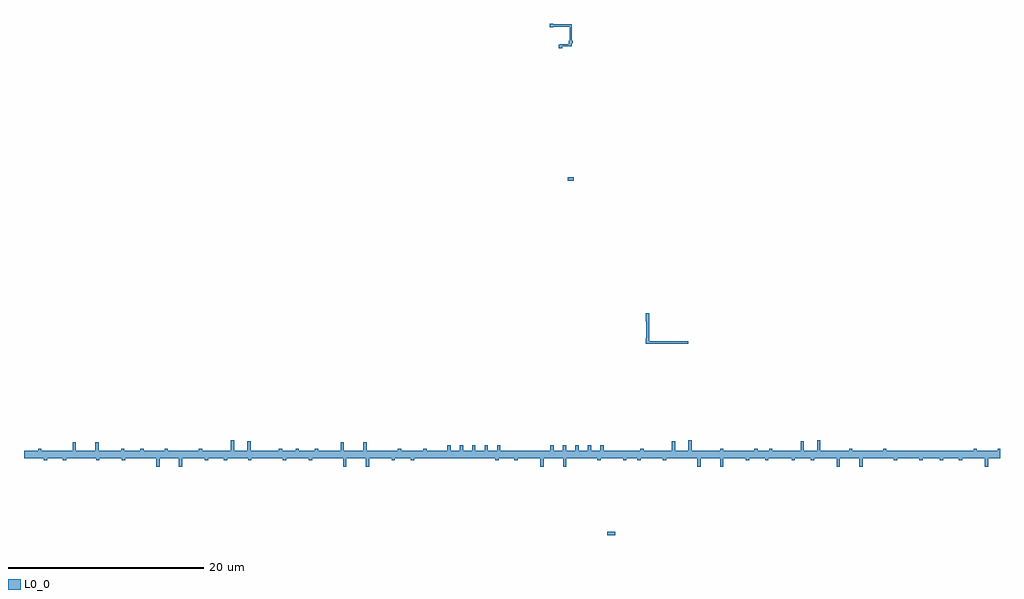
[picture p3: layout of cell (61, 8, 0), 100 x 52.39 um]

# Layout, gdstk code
import gdstk
lib = gdstk.Library(unit=1e-6, precision=1e-09)
def P(c, l, *ps):  # polygons
    for p in ps: c.add(gdstk.Polygon(p, *l))
L0_0 = (0, 0)

c__61__8__0_ = lib.new_cell('(61, 8, 0)')
P(c__61__8__0_, L0_0, [(959.38,951.83),(959.38,951.28),(962.94,951.28),(962.94,950.48),(952.38,950.48),(952.38,951.28),(953.92,951.28),(953.92,951.83),(954.26,951.83),(954.26,951.28),(955.2,951.28),(955.2,951.83),(955.54,951.83),(955.54,951.28),(956.48,951.28),(956.48,951.83),(956.82,951.83),(956.82,951.28),(957.76,951.28),(957.76,951.83),(958.1,951.83),(958.1,951.28),(959.04,951.28),(959.04,951.83),(959.38,951.83)],
  [(1000,950.48),(998.58,950.48),(998.58,951.28),(999.775,951.28),(999.775,951.455),(1000,951.455),(1000,950.48)],
  [(900,951.28),(1000,951.28),(1000,950.48),(900,950.48),(900,951.28)],
  [(981.6,952.35),(981.6,951.28),(984.53,951.28),(984.53,951.455),(984.87,951.455),(984.87,951.28),(988.03,951.28),(988.03,951.455),(988.37,951.455),(988.37,951.28),(989.34,951.28),(989.34,950.48),(976.14,950.48),(976.14,951.28),(976.34,951.28),(976.34,951.455),(976.68,951.455),(976.68,951.28),(979.57,951.28),(979.57,952.26),(979.91,952.26),(979.91,951.28),(981.26,951.28),(981.26,952.35),(981.6,952.35)],
  [(955.23,949.64),(955.23,950.48),(953.245,950.48),(953.245,949.645),(952.905,949.645),(952.905,950.48),(950.59,950.48),(950.59,950.305),(950.25,950.305),(950.25,950.48),(948.635,950.48),(948.635,950.305),(948.295,950.305),(948.295,950.48),(947.1,950.48),(947.1,951.28),(962.28,951.28),(962.28,950.48),(961.73,950.48),(961.73,950.305),(961.39,950.305),(961.39,950.48),(959.09,950.48),(959.09,950.305),(958.75,950.305),(958.75,950.48),(955.57,950.48),(955.57,949.64),(955.23,949.64)],
  [(921.52,951.28),(922.87,951.28),(922.87,952.26),(923.21,952.26),(923.21,951.28),(926.1,951.28),(926.1,951.455),(926.44,951.455),(926.44,951.28),(926.64,951.28),(926.64,950.48),(913.44,950.48),(913.44,951.28),(914.41,951.28),(914.41,951.455),(914.75,951.455),(914.75,951.28),(917.91,951.28),(917.91,951.455),(918.25,951.455),(918.25,951.28),(921.18,951.28),(921.18,952.35),(921.52,952.35),(921.52,951.28)],
  [(906.84,951.28),(906.84,950.48),(905.52,950.48),(905.52,951.28),(906.84,951.28)],
  [(900,951.28),(905.52,951.28),(905.52,950.48),(904.325,950.48),(904.325,950.305),(903.985,950.305),(903.985,950.48),(902.37,950.48),(902.37,950.305),(902.03,950.305),(902.03,950.48),(900,950.48),(900,951.28)],
  [(900,951.28),(901.45,951.28),(901.45,951.455),(901.79,951.455),(901.79,951.28),(904.97,951.28),(904.97,952.12),(905.31,952.12),(905.31,951.28),(907.295,951.28),(907.295,952.115),(907.635,952.115),(907.635,951.28),(909.95,951.28),(909.95,951.455),(910.29,951.455),(910.29,951.28),(911.905,951.28),(911.905,951.455),(912.245,951.455),(912.245,951.28),(913.44,951.28),(913.44,950.48),(900,950.48),(900,951.28)],
  [(946.44,951.28),(946.44,950.48),(941.16,950.48),(941.16,951.28),(946.44,951.28)],
  [(1000,950.48),(998.785,950.48),(998.785,949.645),(998.445,949.645),(998.445,950.48),(996.13,950.48),(996.13,950.305),(995.79,950.305),(995.79,950.48),(994.175,950.48),(994.175,950.305),(993.835,950.305),(993.835,950.48),(992.64,950.48),(992.64,951.28),(1000,951.28),(1000,950.48)],
  [(948.82,951.83),(948.82,951.28),(952.38,951.28),(952.38,950.48),(941.82,950.48),(941.82,951.28),(943.36,951.28),(943.36,951.83),(943.7,951.83),(943.7,951.28),(944.64,951.28),(944.64,951.83),(944.98,951.83),(944.98,951.28),(945.92,951.28),(945.92,951.83),(946.26,951.83),(946.26,951.28),(947.2,951.28),(947.2,951.83),(947.54,951.83),(947.54,951.28),(948.48,951.28),(948.48,951.83),(948.82,951.83)],
  [(985.59,949.64),(985.59,950.48),(983.605,950.48),(983.605,949.645),(983.265,949.645),(983.265,950.48),(980.95,950.48),(980.95,950.305),(980.61,950.305),(980.61,950.48),(978.995,950.48),(978.995,950.305),(978.655,950.305),(978.655,950.48),(977.46,950.48),(977.46,951.28),(992.64,951.28),(992.64,950.48),(992.09,950.48),(992.09,950.305),(991.75,950.305),(991.75,950.48),(989.45,950.48),(989.45,950.305),(989.11,950.305),(989.11,950.48),(985.93,950.48),(985.93,949.64),(985.59,949.64)],
  [(997.64,951.28),(998.58,951.28),(998.58,950.48),(994.62,950.48),(994.62,951.28),(997.3,951.28),(997.3,951.455),(997.64,951.455),(997.64,951.28)],
  [(968.99,950.48),(965.81,950.48),(965.81,950.305),(965.47,950.305),(965.47,950.48),(963.17,950.48),(963.17,950.305),(962.83,950.305),(962.83,950.48),(962.28,950.48),(962.28,951.28),(977.46,951.28),(977.46,950.48),(976.265,950.48),(976.265,950.305),(975.925,950.305),(975.925,950.48),(974.31,950.48),(974.31,950.305),(973.97,950.305),(973.97,950.48),(971.655,950.48),(971.655,949.645),(971.315,949.645),(971.315,950.48),(969.33,950.48),(969.33,949.64),(968.99,949.64),(968.99,950.48)],
  [(935.11,951.28),(938.29,951.28),(938.29,951.455),(938.63,951.455),(938.63,951.28),(940.93,951.28),(940.93,951.455),(941.27,951.455),(941.27,951.28),(941.82,951.28),(941.82,950.48),(926.64,950.48),(926.64,951.28),(927.835,951.28),(927.835,951.455),(928.175,951.455),(928.175,951.28),(929.79,951.28),(929.79,951.455),(930.13,951.455),(930.13,951.28),(932.445,951.28),(932.445,952.115),(932.785,952.115),(932.785,951.28),(934.77,951.28),(934.77,952.12),(935.11,952.12),(935.11,951.28)],
  [(989.34,951.28),(994.62,951.28),(994.62,950.48),(989.34,950.48),(989.34,951.28)],
  [(968.4,952.35),(968.4,951.28),(971.33,951.28),(971.33,951.455),(971.67,951.455),(971.67,951.28),(974.83,951.28),(974.83,951.455),(975.17,951.455),(975.17,951.28),(976.14,951.28),(976.14,950.48),(962.94,950.48),(962.94,951.28),(963.14,951.28),(963.14,951.455),(963.48,951.455),(963.48,951.28),(966.37,951.28),(966.37,952.26),(966.71,952.26),(966.71,951.28),(968.06,951.28),(968.06,952.35),(968.4,952.35)],
  [(922.96,950.48),(922.02,950.48),(922.02,951.28),(925.98,951.28),(925.98,950.48),(923.3,950.48),(923.3,950.305),(922.96,950.305),(922.96,950.48)],
  [(913.55,950.48),(910.37,950.48),(910.37,950.305),(910.03,950.305),(910.03,950.48),(907.73,950.48),(907.73,950.305),(907.39,950.305),(907.39,950.48),(906.84,950.48),(906.84,951.28),(922.02,951.28),(922.02,950.48),(920.825,950.48),(920.825,950.305),(920.485,950.305),(920.485,950.48),(918.87,950.48),(918.87,950.305),(918.53,950.305),(918.53,950.48),(916.215,950.48),(916.215,949.645),(915.875,949.645),(915.875,950.48),(913.89,950.48),(913.89,949.64),(913.55,949.64),(913.55,950.48)],
  [(947.1,951.28),(947.1,950.48),(946.44,950.48),(946.44,951.28),(947.1,951.28)],
  [(932.69,950.48),(929.51,950.48),(929.51,950.305),(929.17,950.305),(929.17,950.48),(926.87,950.48),(926.87,950.305),(926.53,950.305),(926.53,950.48),(925.98,950.48),(925.98,951.28),(941.16,951.28),(941.16,950.48),(939.965,950.48),(939.965,950.305),(939.625,950.305),(939.625,950.48),(938.01,950.48),(938.01,950.305),(937.67,950.305),(937.67,950.48),(935.355,950.48),(935.355,949.645),(935.015,949.645),(935.015,950.48),(933.03,950.48),(933.03,949.64),(932.69,949.64),(932.69,950.48)],
  [(963.93,962.475),(968.005,962.475),(968.005,962.245),(963.93,962.245),(963.93,962.475)],
  [(964.05,965.365),(964.05,962.24),(963.71,962.24),(963.71,962.81),(963.765,962.81),(963.765,964.555),(963.71,964.555),(963.71,965.365),(964.05,965.365)],
  [(967.7,962.5),(968.08,962.5),(968.08,962.22),(967.7,962.22),(967.7,962.5)],
  [(1000,950.48),(998.58,950.48),(998.58,951.28),(999.775,951.28),(999.775,951.455),(1000,951.455),(1000,950.48)],
  [(1000,950.48),(998.785,950.48),(998.785,949.645),(998.445,949.645),(998.445,950.48),(996.13,950.48),(996.13,950.305),(995.79,950.305),(995.79,950.48),(994.175,950.48),(994.175,950.305),(993.835,950.305),(993.835,950.48),(992.64,950.48),(992.64,951.28),(1000,951.28),(1000,950.48)],
  [(968.4,952.35),(968.4,951.28),(971.33,951.28),(971.33,951.455),(971.67,951.455),(971.67,951.28),(974.83,951.28),(974.83,951.455),(975.17,951.455),(975.17,951.28),(976.14,951.28),(976.14,950.48),(962.94,950.48),(962.94,951.28),(963.14,951.28),(963.14,951.455),(963.48,951.455),(963.48,951.28),(966.37,951.28),(966.37,952.26),(966.71,952.26),(966.71,951.28),(968.06,951.28),(968.06,952.35),(968.4,952.35)],
  [(981.6,952.35),(981.6,951.28),(984.53,951.28),(984.53,951.455),(984.87,951.455),(984.87,951.28),(988.03,951.28),(988.03,951.455),(988.37,951.455),(988.37,951.28),(989.34,951.28),(989.34,950.48),(976.14,950.48),(976.14,951.28),(976.34,951.28),(976.34,951.455),(976.68,951.455),(976.68,951.28),(979.57,951.28),(979.57,952.26),(979.91,952.26),(979.91,951.28),(981.26,951.28),(981.26,952.35),(981.6,952.35)],
  [(985.59,949.64),(985.59,950.48),(983.605,950.48),(983.605,949.645),(983.265,949.645),(983.265,950.48),(980.95,950.48),(980.95,950.305),(980.61,950.305),(980.61,950.48),(978.995,950.48),(978.995,950.305),(978.655,950.305),(978.655,950.48),(977.46,950.48),(977.46,951.28),(992.64,951.28),(992.64,950.48),(992.09,950.48),(992.09,950.305),(991.75,950.305),(991.75,950.48),(989.45,950.48),(989.45,950.305),(989.11,950.305),(989.11,950.48),(985.93,950.48),(985.93,949.64),(985.59,949.64)],
  [(997.64,951.28),(998.58,951.28),(998.58,950.48),(994.62,950.48),(994.62,951.28),(997.3,951.28),(997.3,951.455),(997.64,951.455),(997.64,951.28)],
  [(968.99,950.48),(965.81,950.48),(965.81,950.305),(965.47,950.305),(965.47,950.48),(963.17,950.48),(963.17,950.305),(962.83,950.305),(962.83,950.48),(962.28,950.48),(962.28,951.28),(977.46,951.28),(977.46,950.48),(976.265,950.48),(976.265,950.305),(975.925,950.305),(975.925,950.48),(974.31,950.48),(974.31,950.305),(973.97,950.305),(973.97,950.48),(971.655,950.48),(971.655,949.645),(971.315,949.645),(971.315,950.48),(969.33,950.48),(969.33,949.64),(968.99,949.64),(968.99,950.48)],
  [(989.34,951.28),(994.62,951.28),(994.62,950.48),(989.34,950.48),(989.34,951.28)],
  [(946.44,951.28),(946.44,950.48),(941.16,950.48),(941.16,951.28),(946.44,951.28)],
  [(922.96,950.48),(922.02,950.48),(922.02,951.28),(925.98,951.28),(925.98,950.48),(923.3,950.48),(923.3,950.305),(922.96,950.305),(922.96,950.48)],
  [(913.55,950.48),(910.37,950.48),(910.37,950.305),(910.03,950.305),(910.03,950.48),(907.73,950.48),(907.73,950.305),(907.39,950.305),(907.39,950.48),(906.84,950.48),(906.84,951.28),(922.02,951.28),(922.02,950.48),(920.825,950.48),(920.825,950.305),(920.485,950.305),(920.485,950.48),(918.87,950.48),(918.87,950.305),(918.53,950.305),(918.53,950.48),(916.215,950.48),(916.215,949.645),(915.875,949.645),(915.875,950.48),(913.89,950.48),(913.89,949.64),(913.55,949.64),(913.55,950.48)],
  [(948.82,951.83),(948.82,951.28),(952.38,951.28),(952.38,950.48),(941.82,950.48),(941.82,951.28),(943.36,951.28),(943.36,951.83),(943.7,951.83),(943.7,951.28),(944.64,951.28),(944.64,951.83),(944.98,951.83),(944.98,951.28),(945.92,951.28),(945.92,951.83),(946.26,951.83),(946.26,951.28),(947.2,951.28),(947.2,951.83),(947.54,951.83),(947.54,951.28),(948.48,951.28),(948.48,951.83),(948.82,951.83)],
  [(921.52,951.28),(922.87,951.28),(922.87,952.26),(923.21,952.26),(923.21,951.28),(926.1,951.28),(926.1,951.455),(926.44,951.455),(926.44,951.28),(926.64,951.28),(926.64,950.48),(913.44,950.48),(913.44,951.28),(914.41,951.28),(914.41,951.455),(914.75,951.455),(914.75,951.28),(917.91,951.28),(917.91,951.455),(918.25,951.455),(918.25,951.28),(921.18,951.28),(921.18,952.35),(921.52,952.35),(921.52,951.28)],
  [(906.84,951.28),(906.84,950.48),(905.52,950.48),(905.52,951.28),(906.84,951.28)],
  [(935.11,951.28),(938.29,951.28),(938.29,951.455),(938.63,951.455),(938.63,951.28),(940.93,951.28),(940.93,951.455),(941.27,951.455),(941.27,951.28),(941.82,951.28),(941.82,950.48),(926.64,950.48),(926.64,951.28),(927.835,951.28),(927.835,951.455),(928.175,951.455),(928.175,951.28),(929.79,951.28),(929.79,951.455),(930.13,951.455),(930.13,951.28),(932.445,951.28),(932.445,952.115),(932.785,952.115),(932.785,951.28),(934.77,951.28),(934.77,952.12),(935.11,952.12),(935.11,951.28)],
  [(932.69,950.48),(929.51,950.48),(929.51,950.305),(929.17,950.305),(929.17,950.48),(926.87,950.48),(926.87,950.305),(926.53,950.305),(926.53,950.48),(925.98,950.48),(925.98,951.28),(941.16,951.28),(941.16,950.48),(939.965,950.48),(939.965,950.305),(939.625,950.305),(939.625,950.48),(938.01,950.48),(938.01,950.305),(937.67,950.305),(937.67,950.48),(935.355,950.48),(935.355,949.645),(935.015,949.645),(935.015,950.48),(933.03,950.48),(933.03,949.64),(932.69,949.64),(932.69,950.48)],
  [(900,951.28),(905.52,951.28),(905.52,950.48),(904.325,950.48),(904.325,950.305),(903.985,950.305),(903.985,950.48),(902.37,950.48),(902.37,950.305),(902.03,950.305),(902.03,950.48),(900,950.48),(900,951.28)],
  [(900,951.28),(901.45,951.28),(901.45,951.455),(901.79,951.455),(901.79,951.28),(904.97,951.28),(904.97,952.12),(905.31,952.12),(905.31,951.28),(907.295,951.28),(907.295,952.115),(907.635,952.115),(907.635,951.28),(909.95,951.28),(909.95,951.455),(910.29,951.455),(910.29,951.28),(911.905,951.28),(911.905,951.455),(912.245,951.455),(912.245,951.28),(913.44,951.28),(913.44,950.48),(900,950.48),(900,951.28)],
  [(954.22,995.01),(954.22,994.955),(956.125,994.955),(956.125,992.705),(955.14,992.705),(955.14,992.515),(954.8,992.515),(954.8,992.855),(954.91,992.855),(954.91,992.935),(955.82,992.935),(955.82,993.045),(955.895,993.045),(955.895,994.725),(954.22,994.725),(954.22,994.67),(953.88,994.67),(953.88,995.01),(954.22,995.01)],
  [(955.82,993.3),(956.2,993.3),(956.2,993.02),(955.82,993.02),(955.82,993.3)],
  [(960.58,942.985),(960.58,942.62),(959.78,942.62),(959.78,942.945),(960.24,942.945),(960.24,942.985),(960.58,942.985)],
  [(959.78,942.9),(960.16,942.9),(960.16,942.62),(959.78,942.62),(959.78,942.9)],
  [(946.44,951.28),(946.44,950.48),(941.16,950.48),(941.16,951.28),(946.44,951.28)],
  [(913.55,950.48),(910.37,950.48),(910.37,950.305),(910.03,950.305),(910.03,950.48),(907.73,950.48),(907.73,950.305),(907.39,950.305),(907.39,950.48),(906.84,950.48),(906.84,951.28),(922.02,951.28),(922.02,950.48),(920.825,950.48),(920.825,950.305),(920.485,950.305),(920.485,950.48),(918.87,950.48),(918.87,950.305),(918.53,950.305),(918.53,950.48),(916.215,950.48),(916.215,949.645),(915.875,949.645),(915.875,950.48),(913.89,950.48),(913.89,949.64),(913.55,949.64),(913.55,950.48)],
  [(948.82,951.83),(948.82,951.28),(952.38,951.28),(952.38,950.48),(941.82,950.48),(941.82,951.28),(943.36,951.28),(943.36,951.83),(943.7,951.83),(943.7,951.28),(944.64,951.28),(944.64,951.83),(944.98,951.83),(944.98,951.28),(945.92,951.28),(945.92,951.83),(946.26,951.83),(946.26,951.28),(947.2,951.28),(947.2,951.83),(947.54,951.83),(947.54,951.28),(948.48,951.28),(948.48,951.83),(948.82,951.83)],
  [(921.52,951.28),(922.87,951.28),(922.87,952.26),(923.21,952.26),(923.21,951.28),(926.1,951.28),(926.1,951.455),(926.44,951.455),(926.44,951.28),(926.64,951.28),(926.64,950.48),(913.44,950.48),(913.44,951.28),(914.41,951.28),(914.41,951.455),(914.75,951.455),(914.75,951.28),(917.91,951.28),(917.91,951.455),(918.25,951.455),(918.25,951.28),(921.18,951.28),(921.18,952.35),(921.52,952.35),(921.52,951.28)],
  [(906.84,951.28),(906.84,950.48),(905.52,950.48),(905.52,951.28),(906.84,951.28)],
  [(935.11,951.28),(938.29,951.28),(938.29,951.455),(938.63,951.455),(938.63,951.28),(940.93,951.28),(940.93,951.455),(941.27,951.455),(941.27,951.28),(941.82,951.28),(941.82,950.48),(926.64,950.48),(926.64,951.28),(927.835,951.28),(927.835,951.455),(928.175,951.455),(928.175,951.28),(929.79,951.28),(929.79,951.455),(930.13,951.455),(930.13,951.28),(932.445,951.28),(932.445,952.115),(932.785,952.115),(932.785,951.28),(934.77,951.28),(934.77,952.12),(935.11,952.12),(935.11,951.28)],
  [(932.69,950.48),(929.51,950.48),(929.51,950.305),(929.17,950.305),(929.17,950.48),(926.87,950.48),(926.87,950.305),(926.53,950.305),(926.53,950.48),(925.98,950.48),(925.98,951.28),(941.16,951.28),(941.16,950.48),(939.965,950.48),(939.965,950.305),(939.625,950.305),(939.625,950.48),(938.01,950.48),(938.01,950.305),(937.67,950.305),(937.67,950.48),(935.355,950.48),(935.355,949.645),(935.015,949.645),(935.015,950.48),(933.03,950.48),(933.03,949.64),(932.69,949.64),(932.69,950.48)],
  [(900,951.28),(905.52,951.28),(905.52,950.48),(904.325,950.48),(904.325,950.305),(903.985,950.305),(903.985,950.48),(902.37,950.48),(902.37,950.305),(902.03,950.305),(902.03,950.48),(900,950.48),(900,951.28)],
  [(900,951.28),(901.45,951.28),(901.45,951.455),(901.79,951.455),(901.79,951.28),(904.97,951.28),(904.97,952.12),(905.31,952.12),(905.31,951.28),(907.295,951.28),(907.295,952.115),(907.635,952.115),(907.635,951.28),(909.95,951.28),(909.95,951.455),(910.29,951.455),(910.29,951.28),(911.905,951.28),(911.905,951.455),(912.245,951.455),(912.245,951.28),(913.44,951.28),(913.44,950.48),(900,950.48),(900,951.28)],
  [(955.82,979.3),(956.2,979.3),(956.2,979.02),(955.82,979.02),(955.82,979.3)],
  [(956.34,978.935),(955.73,978.935),(955.73,979.305),(956.34,979.305),(956.34,978.935)],
  [(959.38,951.83),(959.38,951.28),(962.94,951.28),(962.94,950.48),(952.38,950.48),(952.38,951.28),(953.92,951.28),(953.92,951.83),(954.26,951.83),(954.26,951.28),(955.2,951.28),(955.2,951.83),(955.54,951.83),(955.54,951.28),(956.48,951.28),(956.48,951.83),(956.82,951.83),(956.82,951.28),(957.76,951.28),(957.76,951.83),(958.1,951.83),(958.1,951.28),(959.04,951.28),(959.04,951.83),(959.38,951.83)],
  [(1000,950.48),(998.785,950.48),(998.785,949.645),(998.445,949.645),(998.445,950.48),(996.13,950.48),(996.13,950.305),(995.79,950.305),(995.79,950.48),(994.175,950.48),(994.175,950.305),(993.835,950.305),(993.835,950.48),(992.64,950.48),(992.64,951.28),(1000,951.28),(1000,950.48)],
  [(968.4,952.35),(968.4,951.28),(971.33,951.28),(971.33,951.455),(971.67,951.455),(971.67,951.28),(974.83,951.28),(974.83,951.455),(975.17,951.455),(975.17,951.28),(976.14,951.28),(976.14,950.48),(962.94,950.48),(962.94,951.28),(963.14,951.28),(963.14,951.455),(963.48,951.455),(963.48,951.28),(966.37,951.28),(966.37,952.26),(966.71,952.26),(966.71,951.28),(968.06,951.28),(968.06,952.35),(968.4,952.35)],
  [(981.6,952.35),(981.6,951.28),(984.53,951.28),(984.53,951.455),(984.87,951.455),(984.87,951.28),(988.03,951.28),(988.03,951.455),(988.37,951.455),(988.37,951.28),(989.34,951.28),(989.34,950.48),(976.14,950.48),(976.14,951.28),(976.34,951.28),(976.34,951.455),(976.68,951.455),(976.68,951.28),(979.57,951.28),(979.57,952.26),(979.91,952.26),(979.91,951.28),(981.26,951.28),(981.26,952.35),(981.6,952.35)],
  [(955.23,949.64),(955.23,950.48),(953.245,950.48),(953.245,949.645),(952.905,949.645),(952.905,950.48),(950.59,950.48),(950.59,950.305),(950.25,950.305),(950.25,950.48),(948.635,950.48),(948.635,950.305),(948.295,950.305),(948.295,950.48),(947.1,950.48),(947.1,951.28),(962.28,951.28),(962.28,950.48),(961.73,950.48),(961.73,950.305),(961.39,950.305),(961.39,950.48),(959.09,950.48),(959.09,950.305),(958.75,950.305),(958.75,950.48),(955.57,950.48),(955.57,949.64),(955.23,949.64)],
  [(985.59,949.64),(985.59,950.48),(983.605,950.48),(983.605,949.645),(983.265,949.645),(983.265,950.48),(980.95,950.48),(980.95,950.305),(980.61,950.305),(980.61,950.48),(978.995,950.48),(978.995,950.305),(978.655,950.305),(978.655,950.48),(977.46,950.48),(977.46,951.28),(992.64,951.28),(992.64,950.48),(992.09,950.48),(992.09,950.305),(991.75,950.305),(991.75,950.48),(989.45,950.48),(989.45,950.305),(989.11,950.305),(989.11,950.48),(985.93,950.48),(985.93,949.64),(985.59,949.64)],
  [(968.99,950.48),(965.81,950.48),(965.81,950.305),(965.47,950.305),(965.47,950.48),(963.17,950.48),(963.17,950.305),(962.83,950.305),(962.83,950.48),(962.28,950.48),(962.28,951.28),(977.46,951.28),(977.46,950.48),(976.265,950.48),(976.265,950.305),(975.925,950.305),(975.925,950.48),(974.31,950.48),(974.31,950.305),(973.97,950.305),(973.97,950.48),(971.655,950.48),(971.655,949.645),(971.315,949.645),(971.315,950.48),(969.33,950.48),(969.33,949.64),(968.99,949.64),(968.99,950.48)],
  [(947.1,951.28),(947.1,950.48),(946.44,950.48),(946.44,951.28),(947.1,951.28)],
  [(989.34,951.28),(994.62,951.28),(994.62,950.48),(989.34,950.48),(989.34,951.28)],
  [(948.82,951.83),(948.82,951.28),(952.38,951.28),(952.38,950.48),(941.82,950.48),(941.82,951.28),(943.36,951.28),(943.36,951.83),(943.7,951.83),(943.7,951.28),(944.64,951.28),(944.64,951.83),(944.98,951.83),(944.98,951.28),(945.92,951.28),(945.92,951.83),(946.26,951.83),(946.26,951.28),(947.2,951.28),(947.2,951.83),(947.54,951.83),(947.54,951.28),(948.48,951.28),(948.48,951.83),(948.82,951.83)],
  [(959.38,951.83),(959.38,951.28),(962.94,951.28),(962.94,950.48),(952.38,950.48),(952.38,951.28),(953.92,951.28),(953.92,951.83),(954.26,951.83),(954.26,951.28),(955.2,951.28),(955.2,951.83),(955.54,951.83),(955.54,951.28),(956.48,951.28),(956.48,951.83),(956.82,951.83),(956.82,951.28),(957.76,951.28),(957.76,951.83),(958.1,951.83),(958.1,951.28),(959.04,951.28),(959.04,951.83),(959.38,951.83)],
  [(1000,950.48),(998.58,950.48),(998.58,951.28),(999.775,951.28),(999.775,951.455),(1000,951.455),(1000,950.48)],
  [(1000,950.48),(998.785,950.48),(998.785,949.645),(998.445,949.645),(998.445,950.48),(996.13,950.48),(996.13,950.305),(995.79,950.305),(995.79,950.48),(994.175,950.48),(994.175,950.305),(993.835,950.305),(993.835,950.48),(992.64,950.48),(992.64,951.28),(1000,951.28),(1000,950.48)],
  [(981.6,952.35),(981.6,951.28),(984.53,951.28),(984.53,951.455),(984.87,951.455),(984.87,951.28),(988.03,951.28),(988.03,951.455),(988.37,951.455),(988.37,951.28),(989.34,951.28),(989.34,950.48),(976.14,950.48),(976.14,951.28),(976.34,951.28),(976.34,951.455),(976.68,951.455),(976.68,951.28),(979.57,951.28),(979.57,952.26),(979.91,952.26),(979.91,951.28),(981.26,951.28),(981.26,952.35),(981.6,952.35)],
  [(955.23,949.64),(955.23,950.48),(953.245,950.48),(953.245,949.645),(952.905,949.645),(952.905,950.48),(950.59,950.48),(950.59,950.305),(950.25,950.305),(950.25,950.48),(948.635,950.48),(948.635,950.305),(948.295,950.305),(948.295,950.48),(947.1,950.48),(947.1,951.28),(962.28,951.28),(962.28,950.48),(961.73,950.48),(961.73,950.305),(961.39,950.305),(961.39,950.48),(959.09,950.48),(959.09,950.305),(958.75,950.305),(958.75,950.48),(955.57,950.48),(955.57,949.64),(955.23,949.64)],
  [(985.59,949.64),(985.59,950.48),(983.605,950.48),(983.605,949.645),(983.265,949.645),(983.265,950.48),(980.95,950.48),(980.95,950.305),(980.61,950.305),(980.61,950.48),(978.995,950.48),(978.995,950.305),(978.655,950.305),(978.655,950.48),(977.46,950.48),(977.46,951.28),(992.64,951.28),(992.64,950.48),(992.09,950.48),(992.09,950.305),(991.75,950.305),(991.75,950.48),(989.45,950.48),(989.45,950.305),(989.11,950.305),(989.11,950.48),(985.93,950.48),(985.93,949.64),(985.59,949.64)],
  [(968.99,950.48),(965.81,950.48),(965.81,950.305),(965.47,950.305),(965.47,950.48),(963.17,950.48),(963.17,950.305),(962.83,950.305),(962.83,950.48),(962.28,950.48),(962.28,951.28),(977.46,951.28),(977.46,950.48),(976.265,950.48),(976.265,950.305),(975.925,950.305),(975.925,950.48),(974.31,950.48),(974.31,950.305),(973.97,950.305),(973.97,950.48),(971.655,950.48),(971.655,949.645),(971.315,949.645),(971.315,950.48),(969.33,950.48),(969.33,949.64),(968.99,949.64),(968.99,950.48)],
  [(947.1,951.28),(947.1,950.48),(946.44,950.48),(946.44,951.28),(947.1,951.28)],
  [(989.34,951.28),(994.62,951.28),(994.62,950.48),(989.34,950.48),(989.34,951.28)],
  [(948.82,951.83),(948.82,951.28),(952.38,951.28),(952.38,950.48),(941.82,950.48),(941.82,951.28),(943.36,951.28),(943.36,951.83),(943.7,951.83),(943.7,951.28),(944.64,951.28),(944.64,951.83),(944.98,951.83),(944.98,951.28),(945.92,951.28),(945.92,951.83),(946.26,951.83),(946.26,951.28),(947.2,951.28),(947.2,951.83),(947.54,951.83),(947.54,951.28),(948.48,951.28),(948.48,951.83),(948.82,951.83)],
  [(959.38,951.83),(959.38,951.28),(962.94,951.28),(962.94,950.48),(952.38,950.48),(952.38,951.28),(953.92,951.28),(953.92,951.83),(954.26,951.83),(954.26,951.28),(955.2,951.28),(955.2,951.83),(955.54,951.83),(955.54,951.28),(956.48,951.28),(956.48,951.83),(956.82,951.83),(956.82,951.28),(957.76,951.28),(957.76,951.83),(958.1,951.83),(958.1,951.28),(959.04,951.28),(959.04,951.83),(959.38,951.83)],
  [(946.44,951.28),(946.44,950.48),(941.16,950.48),(941.16,951.28),(946.44,951.28)],
  [(955.23,949.64),(955.23,950.48),(953.245,950.48),(953.245,949.645),(952.905,949.645),(952.905,950.48),(950.59,950.48),(950.59,950.305),(950.25,950.305),(950.25,950.48),(948.635,950.48),(948.635,950.305),(948.295,950.305),(948.295,950.48),(947.1,950.48),(947.1,951.28),(962.28,951.28),(962.28,950.48),(961.73,950.48),(961.73,950.305),(961.39,950.305),(961.39,950.48),(959.09,950.48),(959.09,950.305),(958.75,950.305),(958.75,950.48),(955.57,950.48),(955.57,949.64),(955.23,949.64)],
  [(948.82,951.83),(948.82,951.28),(952.38,951.28),(952.38,950.48),(941.82,950.48),(941.82,951.28),(943.36,951.28),(943.36,951.83),(943.7,951.83),(943.7,951.28),(944.64,951.28),(944.64,951.83),(944.98,951.83),(944.98,951.28),(945.92,951.28),(945.92,951.83),(946.26,951.83),(946.26,951.28),(947.2,951.28),(947.2,951.83),(947.54,951.83),(947.54,951.28),(948.48,951.28),(948.48,951.83),(948.82,951.83)],
  [(968.99,950.48),(965.81,950.48),(965.81,950.305),(965.47,950.305),(965.47,950.48),(963.17,950.48),(963.17,950.305),(962.83,950.305),(962.83,950.48),(962.28,950.48),(962.28,951.28),(977.46,951.28),(977.46,950.48),(976.265,950.48),(976.265,950.305),(975.925,950.305),(975.925,950.48),(974.31,950.48),(974.31,950.305),(973.97,950.305),(973.97,950.48),(971.655,950.48),(971.655,949.645),(971.315,949.645),(971.315,950.48),(969.33,950.48),(969.33,949.64),(968.99,949.64),(968.99,950.48)],
  [(935.11,951.28),(938.29,951.28),(938.29,951.455),(938.63,951.455),(938.63,951.28),(940.93,951.28),(940.93,951.455),(941.27,951.455),(941.27,951.28),(941.82,951.28),(941.82,950.48),(926.64,950.48),(926.64,951.28),(927.835,951.28),(927.835,951.455),(928.175,951.455),(928.175,951.28),(929.79,951.28),(929.79,951.455),(930.13,951.455),(930.13,951.28),(932.445,951.28),(932.445,952.115),(932.785,952.115),(932.785,951.28),(934.77,951.28),(934.77,952.12),(935.11,952.12),(935.11,951.28)],
  [(932.69,950.48),(929.51,950.48),(929.51,950.305),(929.17,950.305),(929.17,950.48),(926.87,950.48),(926.87,950.305),(926.53,950.305),(926.53,950.48),(925.98,950.48),(925.98,951.28),(941.16,951.28),(941.16,950.48),(939.965,950.48),(939.965,950.305),(939.625,950.305),(939.625,950.48),(938.01,950.48),(938.01,950.305),(937.67,950.305),(937.67,950.48),(935.355,950.48),(935.355,949.645),(935.015,949.645),(935.015,950.48),(933.03,950.48),(933.03,949.64),(932.69,949.64),(932.69,950.48)],
  [(947.1,951.28),(947.1,950.48),(946.44,950.48),(946.44,951.28),(947.1,951.28)],
  [(985.59,949.64),(985.59,950.48),(983.605,950.48),(983.605,949.645),(983.265,949.645),(983.265,950.48),(980.95,950.48),(980.95,950.305),(980.61,950.305),(980.61,950.48),(978.995,950.48),(978.995,950.305),(978.655,950.305),(978.655,950.48),(977.46,950.48),(977.46,951.28),(992.64,951.28),(992.64,950.48),(992.09,950.48),(992.09,950.305),(991.75,950.305),(991.75,950.48),(989.45,950.48),(989.45,950.305),(989.11,950.305),(989.11,950.48),(985.93,950.48),(985.93,949.64),(985.59,949.64)],
  [(989.34,951.28),(994.62,951.28),(994.62,950.48),(989.34,950.48),(989.34,951.28)],
  [(1000,950.48),(998.785,950.48),(998.785,949.645),(998.445,949.645),(998.445,950.48),(996.13,950.48),(996.13,950.305),(995.79,950.305),(995.79,950.48),(994.175,950.48),(994.175,950.305),(993.835,950.305),(993.835,950.48),(992.64,950.48),(992.64,951.28),(1000,951.28),(1000,950.48)],
  [(913.55,950.48),(910.37,950.48),(910.37,950.305),(910.03,950.305),(910.03,950.48),(907.73,950.48),(907.73,950.305),(907.39,950.305),(907.39,950.48),(906.84,950.48),(906.84,951.28),(922.02,951.28),(922.02,950.48),(920.825,950.48),(920.825,950.305),(920.485,950.305),(920.485,950.48),(918.87,950.48),(918.87,950.305),(918.53,950.305),(918.53,950.48),(916.215,950.48),(916.215,949.645),(915.875,949.645),(915.875,950.48),(913.89,950.48),(913.89,949.64),(913.55,949.64),(913.55,950.48)],
  [(906.84,951.28),(906.84,950.48),(905.52,950.48),(905.52,951.28),(906.84,951.28)],
  [(900,951.28),(905.52,951.28),(905.52,950.48),(904.325,950.48),(904.325,950.305),(903.985,950.305),(903.985,950.48),(902.37,950.48),(902.37,950.305),(902.03,950.305),(902.03,950.48),(900,950.48),(900,951.28)],
  [(900,951.28),(901.45,951.28),(901.45,951.455),(901.79,951.455),(901.79,951.28),(904.97,951.28),(904.97,952.12),(905.31,952.12),(905.31,951.28),(907.295,951.28),(907.295,952.115),(907.635,952.115),(907.635,951.28),(909.95,951.28),(909.95,951.455),(910.29,951.455),(910.29,951.28),(911.905,951.28),(911.905,951.455),(912.245,951.455),(912.245,951.28),(913.44,951.28),(913.44,950.48),(900,950.48),(900,951.28)],
  [(959.38,951.83),(959.38,951.28),(962.94,951.28),(962.94,950.48),(952.38,950.48),(952.38,951.28),(953.92,951.28),(953.92,951.83),(954.26,951.83),(954.26,951.28),(955.2,951.28),(955.2,951.83),(955.54,951.83),(955.54,951.28),(956.48,951.28),(956.48,951.83),(956.82,951.83),(956.82,951.28),(957.76,951.28),(957.76,951.83),(958.1,951.83),(958.1,951.28),(959.04,951.28),(959.04,951.83),(959.38,951.83)],
  [(932.69,950.48),(929.51,950.48),(929.51,950.305),(929.17,950.305),(929.17,950.48),(926.87,950.48),(926.87,950.305),(926.53,950.305),(926.53,950.48),(925.98,950.48),(925.98,951.28),(941.16,951.28),(941.16,950.48),(939.965,950.48),(939.965,950.305),(939.625,950.305),(939.625,950.48),(938.01,950.48),(938.01,950.305),(937.67,950.305),(937.67,950.48),(935.355,950.48),(935.355,949.645),(935.015,949.645),(935.015,950.48),(933.03,950.48),(933.03,949.64),(932.69,949.64),(932.69,950.48)],
  [(935.11,951.28),(938.29,951.28),(938.29,951.455),(938.63,951.455),(938.63,951.28),(940.93,951.28),(940.93,951.455),(941.27,951.455),(941.27,951.28),(941.82,951.28),(941.82,950.48),(926.64,950.48),(926.64,951.28),(927.835,951.28),(927.835,951.455),(928.175,951.455),(928.175,951.28),(929.79,951.28),(929.79,951.455),(930.13,951.455),(930.13,951.28),(932.445,951.28),(932.445,952.115),(932.785,952.115),(932.785,951.28),(934.77,951.28),(934.77,952.12),(935.11,952.12),(935.11,951.28)],
  [(955.23,949.64),(955.23,950.48),(953.245,950.48),(953.245,949.645),(952.905,949.645),(952.905,950.48),(950.59,950.48),(950.59,950.305),(950.25,950.305),(950.25,950.48),(948.635,950.48),(948.635,950.305),(948.295,950.305),(948.295,950.48),(947.1,950.48),(947.1,951.28),(962.28,951.28),(962.28,950.48),(961.73,950.48),(961.73,950.305),(961.39,950.305),(961.39,950.48),(959.09,950.48),(959.09,950.305),(958.75,950.305),(958.75,950.48),(955.57,950.48),(955.57,949.64),(955.23,949.64)],
  [(968.99,950.48),(965.81,950.48),(965.81,950.305),(965.47,950.305),(965.47,950.48),(963.17,950.48),(963.17,950.305),(962.83,950.305),(962.83,950.48),(962.28,950.48),(962.28,951.28),(977.46,951.28),(977.46,950.48),(976.265,950.48),(976.265,950.305),(975.925,950.305),(975.925,950.48),(974.31,950.48),(974.31,950.305),(973.97,950.305),(973.97,950.48),(971.655,950.48),(971.655,949.645),(971.315,949.645),(971.315,950.48),(969.33,950.48),(969.33,949.64),(968.99,949.64),(968.99,950.48)],
  [(947.1,951.28),(947.1,950.48),(946.44,950.48),(946.44,951.28),(947.1,951.28)],
  [(948.82,951.83),(948.82,951.28),(952.38,951.28),(952.38,950.48),(941.82,950.48),(941.82,951.28),(943.36,951.28),(943.36,951.83),(943.7,951.83),(943.7,951.28),(944.64,951.28),(944.64,951.83),(944.98,951.83),(944.98,951.28),(945.92,951.28),(945.92,951.83),(946.26,951.83),(946.26,951.28),(947.2,951.28),(947.2,951.83),(947.54,951.83),(947.54,951.28),(948.48,951.28),(948.48,951.83),(948.82,951.83)],
  [(959.38,951.83),(959.38,951.28),(962.94,951.28),(962.94,950.48),(952.38,950.48),(952.38,951.28),(953.92,951.28),(953.92,951.83),(954.26,951.83),(954.26,951.28),(955.2,951.28),(955.2,951.83),(955.54,951.83),(955.54,951.28),(956.48,951.28),(956.48,951.83),(956.82,951.83),(956.82,951.28),(957.76,951.28),(957.76,951.83),(958.1,951.83),(958.1,951.28),(959.04,951.28),(959.04,951.83),(959.38,951.83)],
  [(955.23,949.64),(955.23,950.48),(953.245,950.48),(953.245,949.645),(952.905,949.645),(952.905,950.48),(950.59,950.48),(950.59,950.305),(950.25,950.305),(950.25,950.48),(948.635,950.48),(948.635,950.305),(948.295,950.305),(948.295,950.48),(947.1,950.48),(947.1,951.28),(962.28,951.28),(962.28,950.48),(961.73,950.48),(961.73,950.305),(961.39,950.305),(961.39,950.48),(959.09,950.48),(959.09,950.305),(958.75,950.305),(958.75,950.48),(955.57,950.48),(955.57,949.64),(955.23,949.64)],
  [(948.82,951.83),(948.82,951.28),(952.38,951.28),(952.38,950.48),(941.82,950.48),(941.82,951.28),(943.36,951.28),(943.36,951.83),(943.7,951.83),(943.7,951.28),(944.64,951.28),(944.64,951.83),(944.98,951.83),(944.98,951.28),(945.92,951.28),(945.92,951.83),(946.26,951.83),(946.26,951.28),(947.2,951.28),(947.2,951.83),(947.54,951.83),(947.54,951.28),(948.48,951.28),(948.48,951.83),(948.82,951.83)],
  [(968.99,950.48),(965.81,950.48),(965.81,950.305),(965.47,950.305),(965.47,950.48),(963.17,950.48),(963.17,950.305),(962.83,950.305),(962.83,950.48),(962.28,950.48),(962.28,951.28),(977.46,951.28),(977.46,950.48),(976.265,950.48),(976.265,950.305),(975.925,950.305),(975.925,950.48),(974.31,950.48),(974.31,950.305),(973.97,950.305),(973.97,950.48),(971.655,950.48),(971.655,949.645),(971.315,949.645),(971.315,950.48),(969.33,950.48),(969.33,949.64),(968.99,949.64),(968.99,950.48)],
  [(935.11,951.28),(938.29,951.28),(938.29,951.455),(938.63,951.455),(938.63,951.28),(940.93,951.28),(940.93,951.455),(941.27,951.455),(941.27,951.28),(941.82,951.28),(941.82,950.48),(926.64,950.48),(926.64,951.28),(927.835,951.28),(927.835,951.455),(928.175,951.455),(928.175,951.28),(929.79,951.28),(929.79,951.455),(930.13,951.455),(930.13,951.28),(932.445,951.28),(932.445,952.115),(932.785,952.115),(932.785,951.28),(934.77,951.28),(934.77,952.12),(935.11,952.12),(935.11,951.28)],
  [(932.69,950.48),(929.51,950.48),(929.51,950.305),(929.17,950.305),(929.17,950.48),(926.87,950.48),(926.87,950.305),(926.53,950.305),(926.53,950.48),(925.98,950.48),(925.98,951.28),(941.16,951.28),(941.16,950.48),(939.965,950.48),(939.965,950.305),(939.625,950.305),(939.625,950.48),(938.01,950.48),(938.01,950.305),(937.67,950.305),(937.67,950.48),(935.355,950.48),(935.355,949.645),(935.015,949.645),(935.015,950.48),(933.03,950.48),(933.03,949.64),(932.69,949.64),(932.69,950.48)],
  [(959.38,951.83),(959.38,951.28),(962.94,951.28),(962.94,950.48),(952.38,950.48),(952.38,951.28),(953.92,951.28),(953.92,951.83),(954.26,951.83),(954.26,951.28),(955.2,951.28),(955.2,951.83),(955.54,951.83),(955.54,951.28),(956.48,951.28),(956.48,951.83),(956.82,951.83),(956.82,951.28),(957.76,951.28),(957.76,951.83),(958.1,951.83),(958.1,951.28),(959.04,951.28),(959.04,951.83),(959.38,951.83)],
  [(948.82,951.83),(948.82,951.28),(952.38,951.28),(952.38,950.48),(941.82,950.48),(941.82,951.28),(943.36,951.28),(943.36,951.83),(943.7,951.83),(943.7,951.28),(944.64,951.28),(944.64,951.83),(944.98,951.83),(944.98,951.28),(945.92,951.28),(945.92,951.83),(946.26,951.83),(946.26,951.28),(947.2,951.28),(947.2,951.83),(947.54,951.83),(947.54,951.28),(948.48,951.28),(948.48,951.83),(948.82,951.83)],
  [(955.23,949.64),(955.23,950.48),(953.245,950.48),(953.245,949.645),(952.905,949.645),(952.905,950.48),(950.59,950.48),(950.59,950.305),(950.25,950.305),(950.25,950.48),(948.635,950.48),(948.635,950.305),(948.295,950.305),(948.295,950.48),(947.1,950.48),(947.1,951.28),(962.28,951.28),(962.28,950.48),(961.73,950.48),(961.73,950.305),(961.39,950.305),(961.39,950.48),(959.09,950.48),(959.09,950.305),(958.75,950.305),(958.75,950.48),(955.57,950.48),(955.57,949.64),(955.23,949.64)],
  [(968.99,950.48),(965.81,950.48),(965.81,950.305),(965.47,950.305),(965.47,950.48),(963.17,950.48),(963.17,950.305),(962.83,950.305),(962.83,950.48),(962.28,950.48),(962.28,951.28),(977.46,951.28),(977.46,950.48),(976.265,950.48),(976.265,950.305),(975.925,950.305),(975.925,950.48),(974.31,950.48),(974.31,950.305),(973.97,950.305),(973.97,950.48),(971.655,950.48),(971.655,949.645),(971.315,949.645),(971.315,950.48),(969.33,950.48),(969.33,949.64),(968.99,949.64),(968.99,950.48)],
  [(900,951.28),(905.52,951.28),(905.52,950.48),(904.325,950.48),(904.325,950.305),(903.985,950.305),(903.985,950.48),(902.37,950.48),(902.37,950.305),(902.03,950.305),(902.03,950.48),(900,950.48),(900,951.28)],
  [(900,951.28),(901.45,951.28),(901.45,951.455),(901.79,951.455),(901.79,951.28),(904.97,951.28),(904.97,952.12),(905.31,952.12),(905.31,951.28),(907.295,951.28),(907.295,952.115),(907.635,952.115),(907.635,951.28),(909.95,951.28),(909.95,951.455),(910.29,951.455),(910.29,951.28),(911.905,951.28),(911.905,951.455),(912.245,951.455),(912.245,951.28),(913.44,951.28),(913.44,950.48),(900,950.48),(900,951.28)],
  [(913.55,950.48),(910.37,950.48),(910.37,950.305),(910.03,950.305),(910.03,950.48),(907.73,950.48),(907.73,950.305),(907.39,950.305),(907.39,950.48),(906.84,950.48),(906.84,951.28),(922.02,951.28),(922.02,950.48),(920.825,950.48),(920.825,950.305),(920.485,950.305),(920.485,950.48),(918.87,950.48),(918.87,950.305),(918.53,950.305),(918.53,950.48),(916.215,950.48),(916.215,949.645),(915.875,949.645),(915.875,950.48),(913.89,950.48),(913.89,949.64),(913.55,949.64),(913.55,950.48)],
  [(900,951.28),(901.45,951.28),(901.45,951.455),(901.79,951.455),(901.79,951.28),(904.97,951.28),(904.97,952.12),(905.31,952.12),(905.31,951.28),(907.295,951.28),(907.295,952.115),(907.635,952.115),(907.635,951.28),(909.95,951.28),(909.95,951.455),(910.29,951.455),(910.29,951.28),(911.905,951.28),(911.905,951.455),(912.245,951.455),(912.245,951.28),(913.44,951.28),(913.44,950.48),(900,950.48),(900,951.28)],
  [(959.38,951.83),(959.38,951.28),(962.94,951.28),(962.94,950.48),(952.38,950.48),(952.38,951.28),(953.92,951.28),(953.92,951.83),(954.26,951.83),(954.26,951.28),(955.2,951.28),(955.2,951.83),(955.54,951.83),(955.54,951.28),(956.48,951.28),(956.48,951.83),(956.82,951.83),(956.82,951.28),(957.76,951.28),(957.76,951.83),(958.1,951.83),(958.1,951.28),(959.04,951.28),(959.04,951.83),(959.38,951.83)],
  [(968.99,950.48),(965.81,950.48),(965.81,950.305),(965.47,950.305),(965.47,950.48),(963.17,950.48),(963.17,950.305),(962.83,950.305),(962.83,950.48),(962.28,950.48),(962.28,951.28),(977.46,951.28),(977.46,950.48),(976.265,950.48),(976.265,950.305),(975.925,950.305),(975.925,950.48),(974.31,950.48),(974.31,950.305),(973.97,950.305),(973.97,950.48),(971.655,950.48),(971.655,949.645),(971.315,949.645),(971.315,950.48),(969.33,950.48),(969.33,949.64),(968.99,949.64),(968.99,950.48)],
  [(959.38,951.83),(959.38,951.28),(962.94,951.28),(962.94,950.48),(952.38,950.48),(952.38,951.28),(953.92,951.28),(953.92,951.83),(954.26,951.83),(954.26,951.28),(955.2,951.28),(955.2,951.83),(955.54,951.83),(955.54,951.28),(956.48,951.28),(956.48,951.83),(956.82,951.83),(956.82,951.28),(957.76,951.28),(957.76,951.83),(958.1,951.83),(958.1,951.28),(959.04,951.28),(959.04,951.83),(959.38,951.83)],
  [(948.82,951.83),(948.82,951.28),(952.38,951.28),(952.38,950.48),(941.82,950.48),(941.82,951.28),(943.36,951.28),(943.36,951.83),(943.7,951.83),(943.7,951.28),(944.64,951.28),(944.64,951.83),(944.98,951.83),(944.98,951.28),(945.92,951.28),(945.92,951.83),(946.26,951.83),(946.26,951.28),(947.2,951.28),(947.2,951.83),(947.54,951.83),(947.54,951.28),(948.48,951.28),(948.48,951.83),(948.82,951.83)])

lib.write_gds('_61__8__0_.gds')
